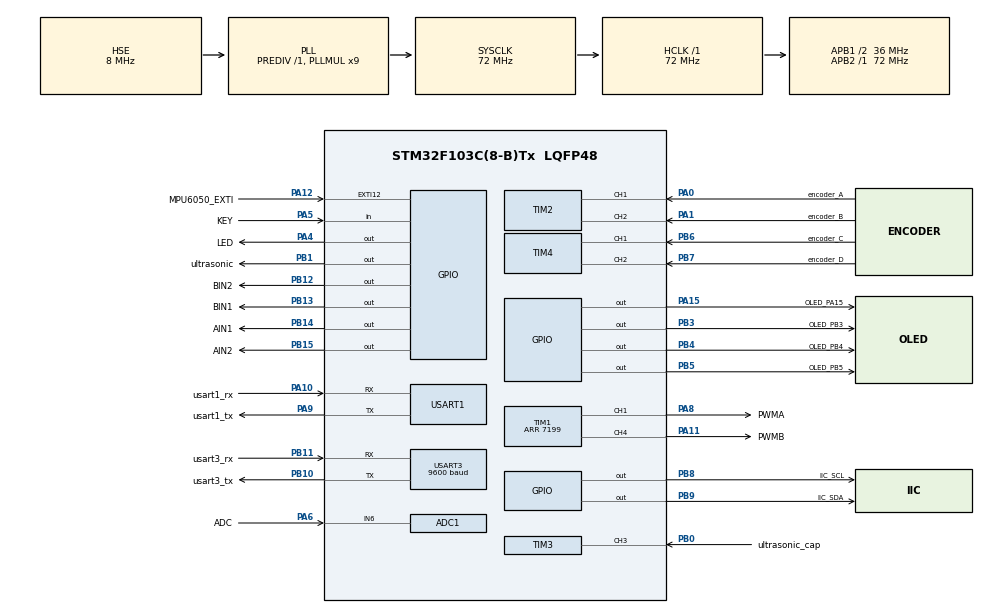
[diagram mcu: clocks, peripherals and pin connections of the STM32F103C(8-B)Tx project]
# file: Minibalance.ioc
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ADC1.Channel-0\#ChannelRegularConversion=ADC_CHANNEL_6
ADC1.NbrOfConversionFlag=1
ADC1.Rank-0\#ChannelRegularConversion=1
ADC1.SamplingTime-0\#ChannelRegularConversion=ADC_SAMPLETIME_239CYCLES_5
ADC1.master=1
Mcu.Family=STM32F1
Mcu.Name=STM32F103C(8-B)Tx
Mcu.Package=LQFP48
NVIC.EXTI15_10_IRQn=true\:2\:1\:true\:false\:true\:true\:true
NVIC.PriorityGroup=NVIC_PRIORITYGROUP_2
NVIC.TIM3_IRQn=true\:1\:1\:true\:false\:true\:true\:true
NVIC.USART3_IRQn=true\:0\:1\:false\:false\:true\:true\:true
PA0-WKUP.GPIO_Label=encoder_A
PA0-WKUP.Signal=S_TIM2_CH1_ETR
PA1.GPIO_Label=encoder_B
PA1.Signal=S_TIM2_CH2
PA10.GPIO_Label=usart1_rx
PA10.Mode=Asynchronous
PA10.Signal=USART1_RX
PA11.GPIO_Label=PWMB
PA11.Signal=S_TIM1_CH4
PA12.GPIO_Label=MPU6050_EXTI
PA12.GPIO_ModeDefaultEXTI=GPIO_MODE_IT_FALLING
PA12.GPIO_PuPd=GPIO_PULLUP
PA12.Signal=GPXTI12
PA13.Mode=Serial_Wire
PA13.Signal=SYS_JTMS-SWDIO
PA14.Mode=Serial_Wire
PA14.Signal=SYS_JTCK-SWCLK
PA15.GPIO_Label=OLED_PA15
PA15.GPIO_Speed=GPIO_SPEED_FREQ_MEDIUM
PA15.Signal=GPIO_Output
PA4.GPIO_Label=LED
PA4.GPIO_ModeDefaultOutputPP=GPIO_MODE_OUTPUT_PP
PA4.GPIO_PuPd=GPIO_NOPULL
PA4.GPIO_Speed=GPIO_SPEED_FREQ_HIGH
PA4.PinState=GPIO_PIN_SET
PA4.Signal=GPIO_Output
PA5.GPIO_Label=KEY
PA5.GPIO_PuPd=GPIO_PULLUP
PA5.Signal=GPIO_Input
PA6.GPIO_Label=ADC
PA6.Signal=ADCx_IN6
PA8.GPIO_Label=PWMA
PA8.Signal=S_TIM1_CH1
PA9.GPIO_Label=usart1_tx
PA9.Mode=Asynchronous
PA9.Signal=USART1_TX
PB0.GPIO_Label=ultrasonic_cap
PB0.Signal=S_TIM3_CH3
PB1.GPIO_Label=ultrasonic
PB1.GPIO_Speed=GPIO_SPEED_FREQ_HIGH
PB1.Signal=GPIO_Output
PB10.GPIO_Label=usart3_tx
PB10.Mode=Asynchronous
PB10.Signal=USART3_TX
PB11.GPIO_Label=usart3_rx
PB11.Mode=Asynchronous
PB11.Signal=USART3_RX
PB12.GPIO_Label=BIN2
PB12.GPIO_Speed=GPIO_SPEED_FREQ_HIGH
PB12.Signal=GPIO_Output
PB13.GPIO_Label=BIN1
PB13.GPIO_Speed=GPIO_SPEED_FREQ_HIGH
PB13.Signal=GPIO_Output
PB14.GPIO_Label=AIN1
PB14.GPIO_Speed=GPIO_SPEED_FREQ_HIGH
PB14.Signal=GPIO_Output
PB15.GPIO_Label=AIN2
PB15.GPIO_Speed=GPIO_SPEED_FREQ_HIGH
PB15.Signal=GPIO_Output
PB3.GPIO_Label=OLED_PB3
PB3.GPIO_Speed=GPIO_SPEED_FREQ_MEDIUM
PB3.Signal=GPIO_Output
PB4.GPIO_Label=OLED_PB4
PB4.GPIO_Speed=GPIO_SPEED_FREQ_MEDIUM
PB4.Signal=GPIO_Output
PB5.GPIO_Label=OLED_PB5
PB5.GPIO_Speed=GPIO_SPEED_FREQ_MEDIUM
PB5.Signal=GPIO_Output
PB6.GPIO_Label=encoder_C
PB6.Signal=S_TIM4_CH1
PB7.GPIO_Label=encoder_D
PB7.Signal=S_TIM4_CH2
PB8.GPIO_Label=IIC_SCL
PB8.GPIO_Speed=GPIO_SPEED_FREQ_HIGH
PB8.PinState=GPIO_PIN_SET
PB8.Signal=GPIO_Output
PB9.GPIO_Label=IIC_SDA
PB9.GPIO_Speed=GPIO_SPEED_FREQ_HIGH
PB9.PinState=GPIO_PIN_SET
PB9.Signal=GPIO_Output
PD0-OSC_IN.Mode=HSE-External-Oscillator
PD0-OSC_IN.Signal=RCC_OSC_IN
PD1-OSC_OUT.Mode=HSE-External-Oscillator
PD1-OSC_OUT.Signal=RCC_OSC_OUT
ProjectManager.HeapSize=0x200
ProjectManager.StackSize=0x400
ProjectManager.TargetToolchain=MDK-ARM V5.32
RCC.ADCPresc=RCC_ADCPCLK2_DIV6
RCC.AHBFreq_Value=72000000
RCC.APB1CLKDivider=RCC_HCLK_DIV2
RCC.APB1Freq_Value=36000000
RCC.APB1TimFreq_Value=72000000
RCC.APB2Freq_Value=72000000
RCC.APB2TimFreq_Value=72000000
RCC.HCLKFreq_Value=72000000
RCC.PLLMUL=RCC_PLL_MUL9
RCC.PLLSourceVirtual=RCC_PLLSOURCE_HSE
RCC.SYSCLKFreq_VALUE=72000000
RCC.SYSCLKSource=RCC_SYSCLKSOURCE_PLLCLK
RCC.TimSys_Div=SYSTICK_CLKSOURCE_HCLK_DIV8
RCC.USBFreq_Value=72000000
SH.ADCx_IN6.0=ADC1_IN6,IN6
SH.S_TIM1_CH1.0=TIM1_CH1,PWM Generation1 CH1
SH.S_TIM1_CH4.0=TIM1_CH4,PWM Generation4 CH4
SH.S_TIM2_CH1_ETR.0=TIM2_CH1,Encoder_Interface
SH.S_TIM2_CH2.0=TIM2_CH2,Encoder_Interface
SH.S_TIM3_CH3.0=TIM3_CH3,Input_Capture3_from_TI3
SH.S_TIM4_CH1.0=TIM4_CH1,Encoder_Interface
SH.S_TIM4_CH2.0=TIM4_CH2,Encoder_Interface
TIM1.AutoReloadPreload=TIM_AUTORELOAD_PRELOAD_ENABLE
TIM1.Channel-PWM\ Generation1\ CH1=TIM_CHANNEL_1
TIM1.Channel-PWM\ Generation4\ CH4=TIM_CHANNEL_4
TIM1.Period=7199
TIM2.EncoderMode=TIM_ENCODERMODE_TI12
TIM2.IC1Filter=10
TIM2.IC2Filter=10
TIM3.AutoReloadPreload=TIM_AUTORELOAD_PRELOAD_ENABLE
TIM3.Channel-Input_Capture3_from_TI3=TIM_CHANNEL_3
TIM3.Prescaler=72-1
TIM4.EncoderMode=TIM_ENCODERMODE_TI12
TIM4.IC1Filter=10
TIM4.IC2Filter=10
USART1.VirtualMode=VM_ASYNC
USART3.BaudRate=9600
USART3.VirtualMode=VM_ASYNC
VP_TIM1_VS_ClockSourceINT.Mode=Internal
VP_TIM3_VS_ClockSourceINT.Mode=Internal
board=custom

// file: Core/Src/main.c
/* USER CODE BEGIN Header */
/**
  ******************************************************************************
  * @file           : main.c
  * @brief          : Main program body
  ******************************************************************************
  * @attention
  *
  * <h2><center>&copy; Copyright (c) 2021 STMicroelectronics.
  * All rights reserved.</center></h2>
  *
  * This software component is licensed by ST under BSD 3-Clause license,
  * the "License"; You may not use this file except in compliance with the
  * License. You may obtain a copy of the License at:
  *                        opensource.org/licenses/BSD-3-Clause
  *
  ******************************************************************************
  */
/* USER CODE END Header */
#include "main.h"
#include "adc.h"
#include "tim.h"
#include "usart.h"
#include "gpio.h"

/* USER CODE BEGIN Includes */
#include "sys.h"
/* USER CODE END Includes */

/* USER CODE BEGIN PTD */
u8 Way_Angle=2;                             //获取角度的算法，1：四元数  2：卡尔曼  3：互补滤波
u8 Flag_front,Flag_back,Flag_Left,Flag_Right,Flag_velocity=2; //蓝牙遥控相关的变量
u8 Flag_Stop=1,Flag_Show=0;                 //电机停止标志位和显示标志位  默认停止 显示打开
int Motor_Left,Motor_Right;                 //电机PWM变量 应是Motor的 向Moto致敬
int Temperature;                            //温度变量
int Voltage;                                //电池电压采样相关的变量
float Angle_Balance,Gyro_Balance,Gyro_Turn; //平衡倾角 平衡陀螺仪 转向陀螺仪
u32 Distance;                               //超声波测距
u8 PID_Send; 					                    	//调参相关变量
u8 Flag_follow=0,Flag_avoid=0;							//超声波跟随、超声波壁障标志位
float Acceleration_Z;                       //Z轴加速度计
volatile u8 delay_flag,delay_50;            //提供延时的变量
float Balance_Kp=22500,Balance_Kd=108,Velocity_Kp=16000,Velocity_Ki=80,Turn_Kp=4200,Turn_Kd=0;//PID参数（放大100倍）

/* USER CODE END PTD */

void SystemClock_Config(void);

int main(void)
{

  /* MCU Configuration--------------------------------------------------------*/

  /* Reset of all peripherals, Initializes the Flash interface and the Systick. */
  HAL_Init();

  /* Configure the system clock */
  SystemClock_Config();

  /* Initialize all configured peripherals */
  MX_GPIO_Init();
  MX_USART1_UART_Init();
  MX_USART3_UART_Init();
  MX_TIM3_Init();
  MX_TIM1_Init();
  MX_TIM2_Init();
  MX_TIM4_Init();
  MX_ADC1_Init();
  /* USER CODE BEGIN 2 */
	JTAG_Set(JTAG_SWD_DISABLE);     //关闭JTAG接口
	JTAG_Set(SWD_ENABLE);           //打开SWD接口 可以利用主板的SWD接口调试
  delay_init();                   //延迟函数初始化
  OLED_Init();                    //OLED初始化
  MPU6050_initialize();           //MPU6050初始化
	DMP_Init();                     //初始化DMP
	HAL_NVIC_EnableIRQ(EXTI15_10_IRQn); //开启引脚外部中断
  /* USER CODE END 2 */

  /* Infinite loop */
  /* USER CODE BEGIN WHILE */
  while (1)
  {
		if(Flag_Show==0)          		//使用MiniBalance APP和OLED显示屏
			{
				 APP_Show();								//发送数据给APP
				 oled_show();          			//显示屏打开
			}
			else                      		//使用MiniBalance上位机 上位机使用的时候需要严格的时序，故此时关闭app监控部分和OLED显示屏
			{
				 DataScope();          			//开启MiniBalance上位机
			}
		  delay_flag=1;
		  delay_50=0;
			while(delay_flag);	     			//示波器需要50ms	高精度延时，delay函数不满足要求，故使用MPU6050中断提供50ms延时
    /* USER CODE END WHILE */

  }
}

void SystemClock_Config(void)
{
  RCC_OscInitTypeDef RCC_OscInitStruct = {0};
  RCC_ClkInitTypeDef RCC_ClkInitStruct = {0};
  RCC_PeriphCLKInitTypeDef PeriphClkInit = {0};

  /** Initializes the RCC Oscillators according to the specified parameters
  * in the RCC_OscInitTypeDef structure.
  */
  RCC_OscInitStruct.OscillatorType = RCC_OSCILLATORTYPE_HSE;
  RCC_OscInitStruct.HSEState = RCC_HSE_ON;
  RCC_OscInitStruct.HSEPredivValue = RCC_HSE_PREDIV_DIV1;
  RCC_OscInitStruct.HSIState = RCC_HSI_ON;
  RCC_OscInitStruct.PLL.PLLState = RCC_PLL_ON;
  RCC_OscInitStruct.PLL.PLLSource = RCC_PLLSOURCE_HSE;
  RCC_OscInitStruct.PLL.PLLMUL = RCC_PLL_MUL9;
  if (HAL_RCC_OscConfig(&RCC_OscInitStruct) != HAL_OK)
  {
    Error_Handler();
  }
  /** Initializes the CPU, AHB and APB buses clocks
  */
  RCC_ClkInitStruct.ClockType = RCC_CLOCKTYPE_HCLK|RCC_CLOCKTYPE_SYSCLK
                              |RCC_CLOCKTYPE_PCLK1|RCC_CLOCKTYPE_PCLK2;
  RCC_ClkInitStruct.SYSCLKSource = RCC_SYSCLKSOURCE_PLLCLK;
  RCC_ClkInitStruct.AHBCLKDivider = RCC_SYSCLK_DIV1;
  RCC_ClkInitStruct.APB1CLKDivider = RCC_HCLK_DIV2;
  RCC_ClkInitStruct.APB2CLKDivider = RCC_HCLK_DIV1;

  if (HAL_RCC_ClockConfig(&RCC_ClkInitStruct, FLASH_LATENCY_2) != HAL_OK)
  {
    Error_Handler();
  }
  PeriphClkInit.PeriphClockSelection = RCC_PERIPHCLK_ADC;
  PeriphClkInit.AdcClockSelection = RCC_ADCPCLK2_DIV6;
  if (HAL_RCCEx_PeriphCLKConfig(&PeriphClkInit) != HAL_OK)
  {
    Error_Handler();
  }
}

void Error_Handler(void)
{
  __disable_irq();
  while (1)
  {
  }
}

/************************ (C) COPYRIGHT STMicroelectronics *****END OF FILE****/
